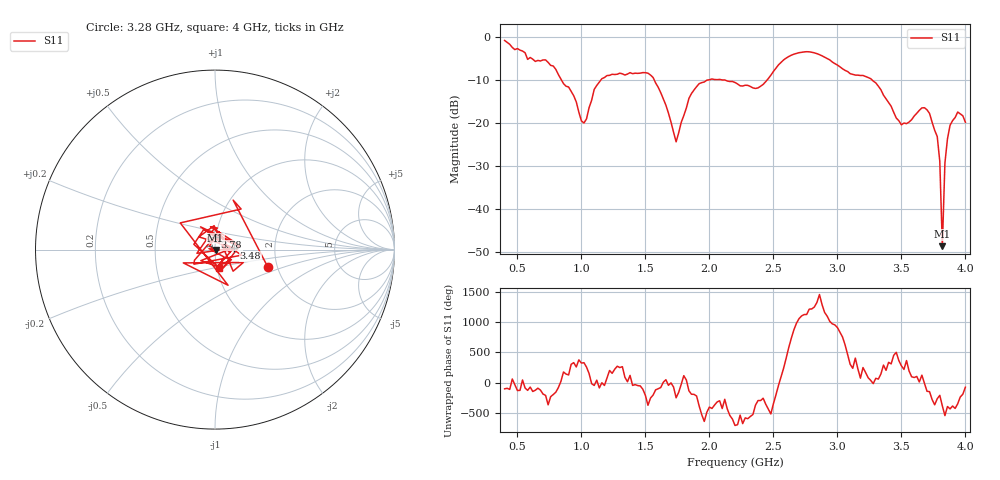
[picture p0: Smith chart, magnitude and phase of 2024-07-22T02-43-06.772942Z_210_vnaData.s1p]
!Created with skrf (http://scikit-rf.org).
# Hz S RI R 50.0
!freq ReS11 ImS11
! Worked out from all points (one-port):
!   181 points, 400 MHz to 4 GHz, reference 50 ohm
!   lowest |S11| = -48.7 dB at 3.82 GHz (marker M1), VSWR 1.01, Z = 50.3 - j0.181 ohm
!   |S11| at or under -10 dB: 1.57 GHz to 1.981 GHz (411.4 MHz wide, 23.2 % of centre); 2.123 GHz to 2.45 GHz (326.7 MHz wide, 14.3 % of centre); 3.272 GHz to end of sweep (the widest 3 of 4)
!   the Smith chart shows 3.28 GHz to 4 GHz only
!   S11 on the Smith chart (normalised r, x): 3.28 GHz: 1.78, -0.38; 3.48 GHz: 1.24, +0.03; 3.78 GHz: 0.99, +0.14; 4 GHz: 1.02, -0.21
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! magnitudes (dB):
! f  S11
! 400 MHz  -0.8
! 720 MHz  -5.3
! 860 MHz  -10.8
! 1.02 GHz  -20.0
! 1.12 GHz  -11.2
! 1.3 GHz  -8.4
! 1.56 GHz  -9.4
! 1.66 GHz  -15.8
! 1.74 GHz  -24.4
! 1.76 GHz  -22.3
! 1.84 GHz  -14.2
! 1.92 GHz  -10.8
! 2.2 GHz  -10.6
! 2.38 GHz  -11.8
! 2.66 GHz  -4.0
! 2.84 GHz  -3.8
! 3.1 GHz  -8.5
! 3.28 GHz  -10.2
! 3.48 GHz  -19.5
! 3.56 GHz  -19.8
! 3.68 GHz  -16.4
! 3.78 GHz  -23.1
! 3.8 GHz  -28.9
! 3.82 GHz  -48.7
! 3.84 GHz  -29.3
! 3.86 GHz  -23.7
! 3.94 GHz  -17.4
! 4 GHz  -19.8
